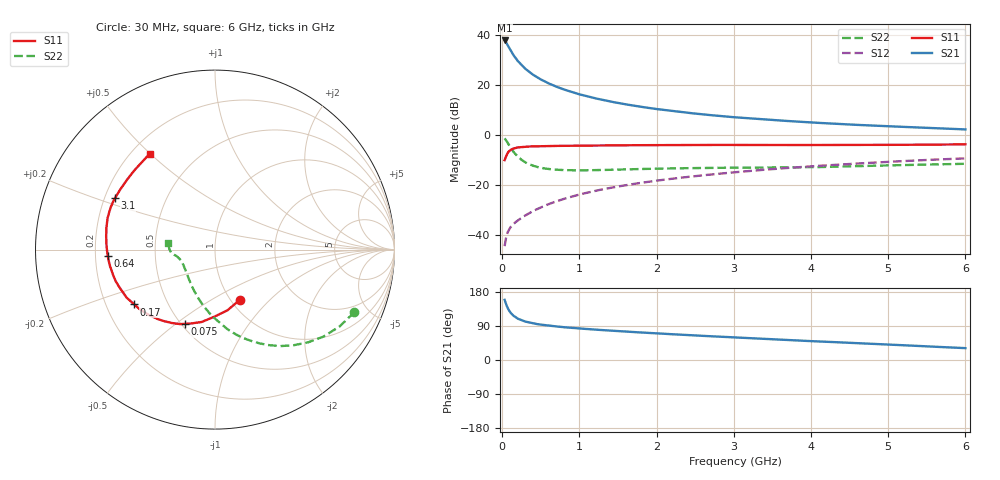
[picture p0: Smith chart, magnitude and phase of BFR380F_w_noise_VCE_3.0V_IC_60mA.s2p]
! Infineon Technologies  Discrete & RF Semiconductors
! BFR380F
! VCE =  3.0 V,  IC =  60 mA
! Common Emitter S-Parameters:  Nov 2015
# GHz  S  MA  R  50
!  f  S11  S21  S12  S22
! GHz  MAG  ANG  MAG  ANG  MAG  ANG  MAG  ANG
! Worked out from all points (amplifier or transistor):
!   206 points, 30 MHz to 6 GHz, reference 50 ohm
!   highest |S21| = 37.6 dB at 30 MHz (marker M1)
!   |S21| within 3 dB of that: start of sweep to 88.85 MHz
!   unconditionally stable (mu >= 1): 758.6 MHz to 4.826 GHz
!   at 200 MHz: K = 0.67, MSG = 31.8 dB, |S12| = -34.2 dB
!   at 1.56 GHz: K = 1.04, MAG = 15.1 dB, |S12| = -20.3 dB
!   at 6 GHz: K = 0.98, MSG = 5.8 dB, |S12| = -9.4 dB
!   lowest NFmin = 1.67 dB at 900 MHz
!   S11 on the Smith chart (normalised r, x): 30 MHz: 1.10, -0.68; 75 MHz: 0.52, -0.54; 170 MHz: 0.32, -0.28; 640 MHz: 0.25, -0.03; 3.1 GHz: 0.24, +0.23; 6 GHz: 0.27, +0.50
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0.03  0.3124 -63.8  76.27 158.8  0.006 76.3  0.8513 -24.2
0.04  0.345 -78.3  72.83 152.6  0.0075 72.5  0.8155 -31.7
0.05  0.3741 -90.6  69.13 146.5  0.009 68.8  0.775 -38.7
0.07  0.4346 -108.5  60.94 137.0  0.0114 63.7  0.6897 -50.6
0.075  0.4458 -111.9  59.05 135.3  0.0118 62.8  0.6691 -53.1
0.09  0.4746 -120.5  53.59 129.9  0.0131 60.2  0.6124 -60.4
0.1  0.4888 -125.3  50.34 126.8  0.0138 59.8  0.5784 -64.6
0.12  0.5118 -133.3  44.65 121.8  0.0151 58.3  0.5183 -72.1
0.15  0.5358 -141.9  37.85 115.9  0.0169 57.4  0.448 -81.2
0.17  0.5438 -145.8  34.56 113.6  0.0179 57.8  0.4139 -85.4
0.2  0.5605 -151.5  29.77 109.1  0.0195 58.4  0.3678 -93.1
0.24  0.5685 -156.5  25.53 105.7  0.0216 59.9  0.3259 -100.3
0.3  0.5805 -162.3  20.68 101.3  0.0247 61.8  0.2817 -110.1
0.36  0.5854 -166.2  17.45 98.4  0.0279 63.8  0.2546 -117.7
0.45  0.5917 -170.7  14.06 94.8  0.0328 66.2  0.2289 -127.1
0.64  0.5989 -176.8  10.02 89.9  0.0436 69.5  0.2051 -140.7
1.04  0.6078 175.2  6.19 82.6  0.0666 72.1  0.1958 -156.4
2.02  0.6241 163.0  3.238 70.1  0.1229 71.3  0.2109 -168.2
3.1  0.6265 152.8  2.188 58.8  0.184 67.6  0.2213 -171.5
4.1  0.6254 143.1  1.73 49.0  0.2403 63.0  0.2271 -172.3
5.1  0.6308 133.9  1.46 39.8  0.2941 57.9  0.2472 -177.3
6  0.6462 124.3  1.281 31.3  0.3386 52.3  0.2642 172.5
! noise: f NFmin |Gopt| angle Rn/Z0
0.45  1.68  0.45  -175  0.08
0.9  1.67  0.47  -173  0.07
1.8  1.88  0.51  -161  0.1
1.9  1.99  0.51  -161  0.1
2.4  2.04  0.52  -152  0.13
3.5  2.67  0.55  -142  0.23
